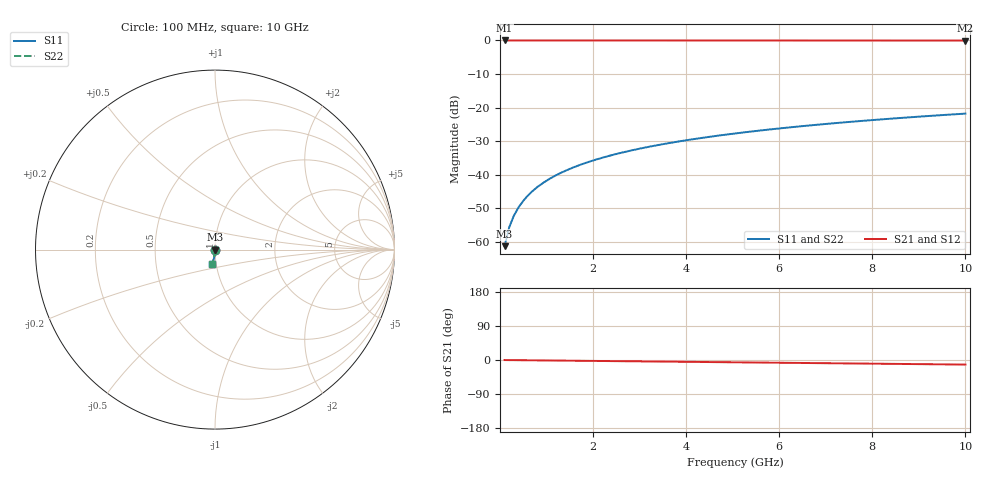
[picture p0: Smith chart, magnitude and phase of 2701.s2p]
# Hz S RI R 50.00
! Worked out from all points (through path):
!   100 points, 100 MHz to 10 GHz, reference 50 ohm
!   highest |S21| = 0.00 dB at 100 MHz (marker M1); lowest = 0.0 dB at 10 GHz (marker M2)
!   group delay of S21, straight-line fit = 3.36 ps
!   lowest |S11| = -61.3 dB at 100 MHz (marker M3), VSWR 1.00, Z = 50 - j0.0811 ohm
!   |S11| at or under -10 dB: start of sweep to end of sweep
!   |S22| runs from -61.3 to -21.8 dB; largest |S21 - S12| = 0
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1e8  0.000277 -0.000811  0.9997 -0.0021  0.9997 -0.0021  0.000277 -0.000811
2e8  0.000272 -0.00162  0.9997 -0.00419  0.9997 -0.00419  0.000272 -0.00162
3e8  0.000264 -0.00243  0.9997 -0.00629  0.9997 -0.00629  0.000264 -0.00243
4e8  0.000252 -0.00324  0.9997 -0.00839  0.9997 -0.00839  0.000252 -0.00324
5e8  0.000236 -0.00406  0.9996 -0.0105  0.9996 -0.0105  0.000236 -0.00406
6e8  0.000217 -0.00487  0.9996 -0.0126  0.9996 -0.0126  0.000217 -0.00487
7e8  0.000194 -0.00568  0.9996 -0.0147  0.9996 -0.0147  0.000194 -0.00568
8e8  0.000168 -0.00649  0.9995 -0.0168  0.9995 -0.0168  0.000168 -0.00649
9e8  0.000138 -0.0073  0.9995 -0.0189  0.9995 -0.0189  0.000138 -0.0073
1.1e9  6.89e-05 -0.00892  0.9994 -0.0231  0.9994 -0.0231  6.89e-05 -0.00892
1.4e9  -6.13e-05 -0.0114  0.9992 -0.0294  0.9992 -0.0294  -6.13e-05 -0.0114
1.8e9  -0.000283 -0.0146  0.9989 -0.0378  0.9989 -0.0378  -0.000283 -0.0146
2.1e9  -0.000485 -0.017  0.9986 -0.0441  0.9986 -0.0441  -0.000485 -0.017
2.5e9  -0.000803 -0.0203  0.9981 -0.0525  0.9981 -0.0525  -0.000803 -0.0203
2.9e9  -0.00117 -0.0235  0.9975 -0.0608  0.9975 -0.0608  -0.00117 -0.0235
3.4e9  -0.00172 -0.0275  0.9967 -0.0713  0.9967 -0.0713  -0.00172 -0.0275
4.2e9  -0.00276 -0.034  0.9952 -0.0881  0.9952 -0.0881  -0.00276 -0.034
5.1e9  -0.0042 -0.0412  0.993 -0.107  0.993 -0.107  -0.0042 -0.0412
5.9e9  -0.00571 -0.0476  0.9908 -0.1237  0.9908 -0.1237  -0.00571 -0.0476
6.7e9  -0.00744 -0.0539  0.9882 -0.1404  0.9882 -0.1404  -0.00744 -0.0539
8.4e9  -0.0118 -0.0672  0.9816 -0.1758  0.9816 -0.1758  -0.0118 -0.0672
1e10  -0.0168 -0.0793  0.9741 -0.2088  0.9741 -0.2088  -0.0168 -0.0793
